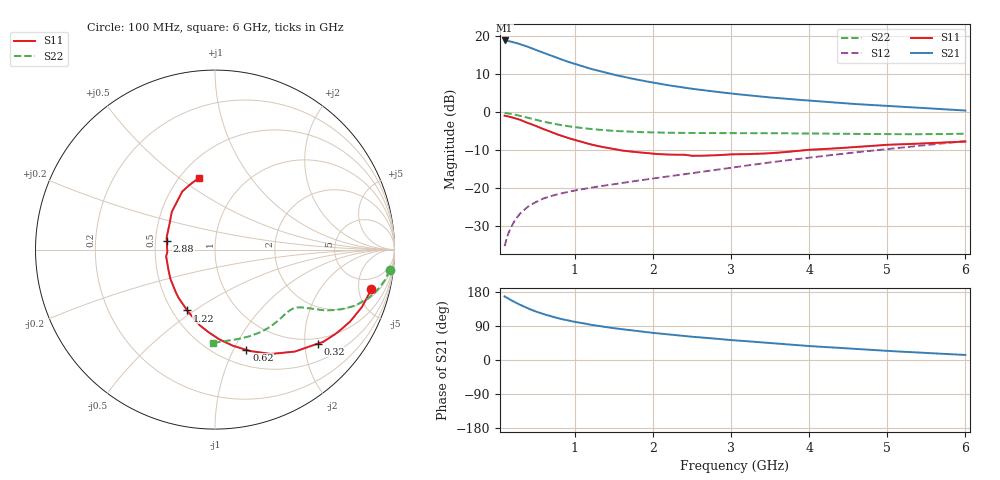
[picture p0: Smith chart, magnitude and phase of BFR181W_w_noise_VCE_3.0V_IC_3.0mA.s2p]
! Infineon Technologies  Discrete & RF Semiconductors
! BFR181W
! VCE =  3.0 V,  IC =  3.0 mA
! Common Emitter S-Parameters:  Nov 2015
# GHz  S  MA  R  50
!  f  S11  S21  S12  S22
! GHz  MAG  ANG  MAG  ANG  MAG  ANG  MAG  ANG
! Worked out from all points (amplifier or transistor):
!   192 points, 100 MHz to 6 GHz, reference 50 ohm
!   highest |S21| = 18.9 dB at 100 MHz (marker M1)
!   |S21| within 3 dB of that: start of sweep to 565.8 MHz
!   unconditionally stable (mu >= 1): 1.779 GHz to 3.402 GHz
!   at 440 MHz: K = 0.38, MSG = 20.7 dB, |S12| = -24.4 dB
!   at 1.7 GHz: K = 0.98, MSG = 13.7 dB, |S12| = -18.4 dB
!   at 6 GHz: K = 0.79, MSG = 4.0 dB, |S12| = -7.6 dB
!   lowest NFmin = 1.40 dB at 450 MHz
!   S11 on the Smith chart (normalised r, x): 100 MHz: 2.91, -6.74; 320 MHz: 0.87, -2.29; 620 MHz: 0.66, -1.13; 1.22 GHz: 0.59, -0.47; 2.88 GHz: 0.57, +0.06; 6 GHz: 0.62, +0.59
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0.1  0.8992 -14.3  8.829 167.8  0.0171 81.5  0.9797 -6.7
0.15  0.8787 -21.4  8.668 161.6  0.0255 78.1  0.9639 -9.8
0.2  0.8529 -28.0  8.443 156.0  0.0328 74.7  0.944 -12.7
0.26  0.8166 -35.5  8.114 149.5  0.0412 70.7  0.9148 -15.8
0.32  0.7759 -42.5  7.734 143.7  0.0482 67.3  0.8847 -18.4
0.4  0.7219 -51.9  7.268 135.9  0.0568 63.6  0.8431 -21.6
0.5  0.6591 -61.9  6.637 127.9  0.0653 60.0  0.7935 -24.5
0.62  0.5859 -72.6  5.953 119.8  0.0741 57.1  0.7429 -27.0
0.7  0.5446 -79.5  5.531 114.7  0.0786 55.6  0.7133 -28.3
0.82  0.4913 -88.8  4.999 108.5  0.0847 54.4  0.6768 -29.8
1  0.4306 -101.3  4.329 100.6  0.0928 53.6  0.6346 -31.3
1.1  0.4014 -107.0  4.028 97.2  0.0968 53.5  0.6173 -32.0
1.22  0.3725 -114.6  3.697 92.6  0.1016 53.5  0.5976 -32.8
1.4  0.3408 -125.5  3.305 86.9  0.1083 53.9  0.5765 -33.9
1.6  0.3126 -136.6  2.959 81.3  0.1164 54.9  0.5601 -35.1
2.08  0.2797 -159.4  2.375 70.0  0.137 57.7  0.538 -38.7
2.5  0.2662 -176.6  2.035 61.3  0.1573 59.6  0.5313 -42.3
2.88  0.2728 170.0  1.822 54.9  0.178 60.9  0.5297 -46.5
3.1  0.2785 163.3  1.719 51.1  0.1912 61.4  0.5291 -49.1
4.1  0.3231 136.6  1.396 35.6  0.2585 60.8  0.5237 -62.5
5.1  0.3745 117.6  1.196 22.9  0.3344 57.6  0.5132 -77.6
6  0.4097 102.5  1.051 13.3  0.4153 53.3  0.5201 -91.2
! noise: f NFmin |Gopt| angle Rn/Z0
0.45  1.4  0.56  17  0.36
0.9  1.5  0.45  35  0.34
1.8  1.85  0.25  82  0.36
